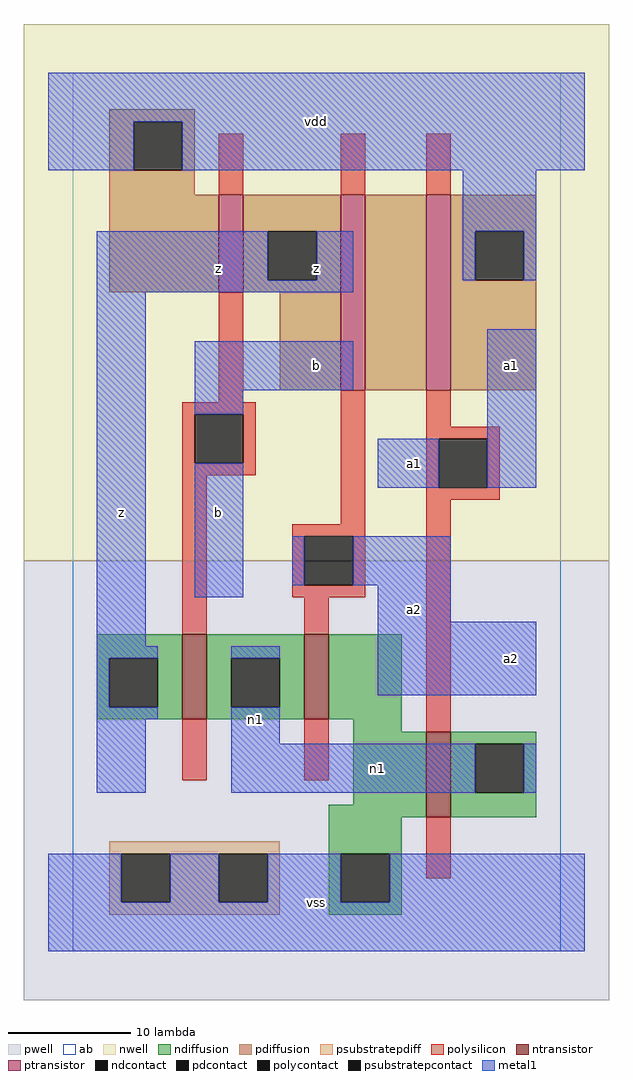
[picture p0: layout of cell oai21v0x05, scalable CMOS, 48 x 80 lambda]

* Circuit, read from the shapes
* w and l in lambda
.subckt oai21v0x05 a1 a2 b n1 vdd vss z
M1 n1 b z vss nfet w=7 l=2
M2 vss a2 n1 vss nfet w=7 l=2
M3 n1 a1 vss vss nfet w=7 l=2
M4 z b vdd n2 pfet w=8 l=2
M5 n3 a2 z n2 pfet w=16 l=2
M6 vdd a1 n3 n2 pfet w=16 l=2
.ends

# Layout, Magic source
magic
tech scmos
<< ab >>
rect 0 0 40 72
<< pwell >>
rect -4 -4 44 32
<< nwell >>
rect -4 32 44 76
<< polysilicon >>
rect 12 62 14 67
rect 22 62 24 67
rect 29 62 31 67
rect 12 45 14 54
rect 9 44 15 45
rect 9 40 10 44
rect 14 40 15 44
rect 9 39 15 40
rect 9 26 11 39
rect 22 35 24 46
rect 18 34 24 35
rect 18 30 19 34
rect 23 30 24 34
rect 18 29 24 30
rect 29 43 31 46
rect 29 42 35 43
rect 29 38 30 42
rect 34 38 35 42
rect 29 37 35 38
rect 19 26 21 29
rect 9 14 11 19
rect 19 14 21 19
rect 29 18 31 37
rect 29 6 31 11
<< ndiffusion >>
rect 2 24 9 26
rect 2 20 3 24
rect 7 20 9 24
rect 2 19 9 20
rect 11 24 19 26
rect 11 20 13 24
rect 17 20 19 24
rect 11 19 19 20
rect 21 19 27 26
rect 23 18 27 19
rect 23 12 29 18
rect 21 11 29 12
rect 31 17 38 18
rect 31 13 33 17
rect 37 13 38 17
rect 31 11 38 13
rect 21 8 27 11
rect 21 4 22 8
rect 26 4 27 8
rect 21 3 27 4
<< pdiffusion >>
rect 3 68 10 69
rect 3 64 5 68
rect 9 64 10 68
rect 3 62 10 64
rect 3 54 12 62
rect 14 59 22 62
rect 14 55 16 59
rect 20 55 22 59
rect 14 54 22 55
rect 17 46 22 54
rect 24 46 29 62
rect 31 59 38 62
rect 31 55 33 59
rect 37 55 38 59
rect 31 46 38 55
<< metal1 >>
rect -2 68 42 72
rect -2 64 5 68
rect 9 64 42 68
rect 32 59 38 64
rect 2 55 16 59
rect 20 55 23 59
rect 32 55 33 59
rect 37 55 38 59
rect 2 54 23 55
rect 2 25 6 54
rect 10 46 23 50
rect 10 44 14 46
rect 10 29 14 40
rect 25 38 30 42
rect 34 38 38 51
rect 18 30 19 34
rect 23 30 31 34
rect 25 27 31 30
rect 2 24 7 25
rect 2 20 3 24
rect 2 19 7 20
rect 13 24 17 25
rect 25 21 38 27
rect 2 13 6 19
rect 13 17 17 20
rect 13 13 33 17
rect 37 13 38 17
rect -2 4 4 8
rect 8 4 12 8
rect 16 4 22 8
rect 26 4 42 8
rect -2 0 42 4
<< ntransistor >>
rect 9 19 11 26
rect 19 19 21 26
rect 29 11 31 18
<< ptransistor >>
rect 12 54 14 62
rect 22 46 24 62
rect 29 46 31 62
<< polycontact >>
rect 10 40 14 44
rect 19 30 23 34
rect 30 38 34 42
<< ndcontact >>
rect 3 20 7 24
rect 13 20 17 24
rect 33 13 37 17
rect 22 4 26 8
<< pdcontact >>
rect 5 64 9 68
rect 16 55 20 59
rect 33 55 37 59
<< psubstratepcontact >>
rect 4 4 8 8
rect 12 4 16 8
<< psubstratepdiff >>
rect 3 8 17 9
rect 3 4 4 8
rect 8 4 12 8
rect 16 4 17 8
rect 3 3 17 4
<< labels >>
rlabel metal1 4 36 4 36 6 z
rlabel metal1 15 19 15 19 6 n1
rlabel metal1 12 36 12 36 6 b
rlabel metal1 12 56 12 56 6 z
rlabel metal1 20 4 20 4 6 vss
rlabel metal1 28 28 28 28 6 a2
rlabel metal1 28 40 28 40 6 a1
rlabel metal1 20 48 20 48 6 b
rlabel metal1 20 56 20 56 6 z
rlabel metal1 20 68 20 68 6 vdd
rlabel metal1 25 15 25 15 6 n1
rlabel metal1 36 24 36 24 6 a2
rlabel metal1 36 48 36 48 6 a1
<< end >>
